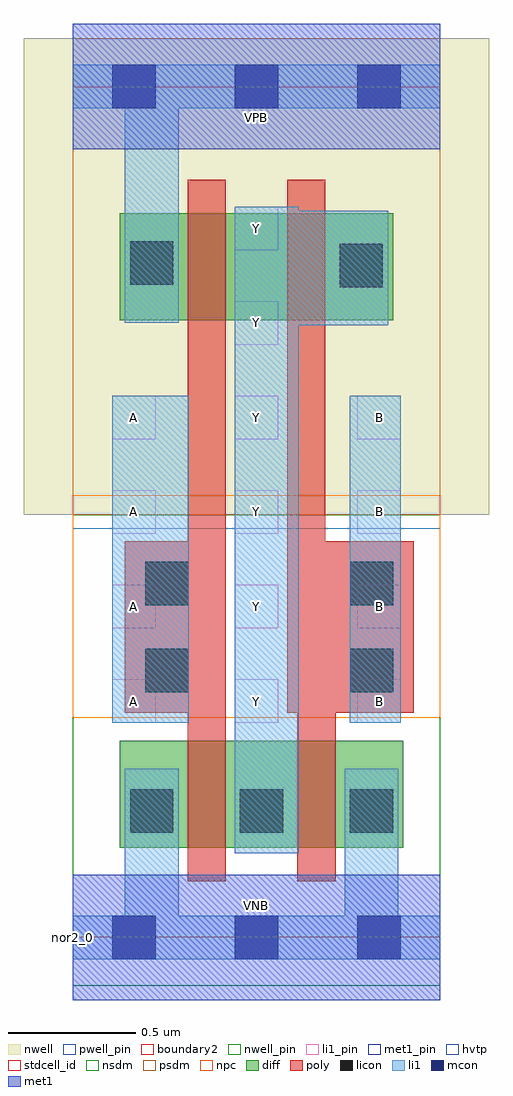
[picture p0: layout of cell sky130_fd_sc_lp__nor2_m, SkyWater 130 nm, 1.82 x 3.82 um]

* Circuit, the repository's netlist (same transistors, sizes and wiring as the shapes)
* Copyright 2020 The SkyWater PDK Authors
*
* Licensed under the Apache License, Version 2.0 (the "License");
* you may not use this file except in compliance with the License.
* You may obtain a copy of the License at
*
*     https://www.apache.org/licenses/LICENSE-2.0
*
* Unless required by applicable law or agreed to in writing, software
* distributed under the License is distributed on an "AS IS" BASIS,
* WITHOUT WARRANTIES OR CONDITIONS OF ANY KIND, either express or implied.
* See the License for the specific language governing permissions and
* limitations under the License.
*
* SPDX-License-Identifier: Apache-2.0

.SUBCKT sky130_fd_sc_lp__nor2_m A B VGND VNB VPB VPWR Y
*.PININFO A:I B:I VGND:I VNB:I VPB:I VPWR:I Y:O
MMP0 VPWR A sndPA VPB sky130_fd_pr__pfet_01v8_hvt m=1 w=0.42U l=0.15U mult=1 sa=0.265
+ sb=0.265 sd=0.28 area=0.063 perim=1.14
MMP1 sndPA B Y VPB sky130_fd_pr__pfet_01v8_hvt m=1 w=0.42U l=0.15U mult=1 sa=0.265
+ sb=0.265 sd=0.28 area=0.063 perim=1.14
MMN0 Y A VGND VNB sky130_fd_pr__nfet_01v8 m=1 w=0.42U l=0.15U mult=1 sa=0.265 sb=0.265
+ sd=0.28 area=0.063 perim=1.14
MMN1 Y B VGND VNB sky130_fd_pr__nfet_01v8 m=1 w=0.42U l=0.15U mult=1 sa=0.265 sb=0.265
+ sd=0.28 area=0.063 perim=1.14
.ENDS sky130_fd_sc_lp__nor2_m

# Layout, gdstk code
import gdstk
lib = gdstk.Library(unit=1e-6, precision=1e-09)
def R(c, l, rs):  # rectangles x0, y0, x1, y1
    for r in rs: c.add(gdstk.rectangle(r[:2], r[2:], *l))
def A(c, l, x, y, w, h, nx, ny, dx, dy):  # array of equal rectangles
    R(c, l, [(x+i*dx, y+j*dy, x+i*dx+w, y+j*dy+h) for i in range(nx) for j in range(ny)])
def P(c, l, *ps):  # polygons
    for p in ps: c.add(gdstk.Polygon(p, *l))
nwell_pin = (64, 16)
nwell = (64, 20)
diff = (65, 20)
poly = (66, 20)
licon = (66, 44)
li1_pin = (67, 16)
li1 = (67, 20)
mcon = (67, 44)
met1_pin = (68, 16)
met1 = (68, 20)
hvtp = (78, 44)
stdcell_id = (81, 4)
nsdm = (93, 44)
psdm = (94, 20)
npc = (95, 20)
pwell_pin = (122, 16)
boundary2 = (236, 0)

sky130_fd_sc_lp__nor2_m = lib.new_cell('sky130_fd_sc_lp__nor2_m')
R(sky130_fd_sc_lp__nor2_m, nwell_pin, [(0,3.085,1.44,3.33)])
R(sky130_fd_sc_lp__nor2_m, nwell, [(-0.19,1.655,1.63,3.52)])
R(sky130_fd_sc_lp__nor2_m, diff, [(0.185,0.35,1.295,0.77), (0.185,2.415,1.255,2.835)])
P(sky130_fd_sc_lp__nor2_m, poly, [(0.6,2.965),(0.45,2.965),(0.45,1.55),(0.205,1.55),(0.205,0.88),(0.45,0.88),(0.45,0.22),(0.6,0.22)],
  [(1.335,1.55),(0.99,1.55),(0.99,2.965),(0.84,2.965),(0.84,0.88),(0.88,0.88),(0.88,0.22),(1.03,0.22),(1.03,0.88),(1.335,0.88)])
A(sky130_fd_sc_lp__nor2_m, licon, 0.225, 0.41, 0.17, 0.17, 3, 1, 0.43, 0)
R(sky130_fd_sc_lp__nor2_m, licon, [(0.285,0.96,0.455,1.13), (1.085,0.96,1.255,1.13), (0.285,1.3,0.455,1.47), (1.085,1.3,1.255,1.47), (1.045,2.545,1.215,2.715), (0.225,2.555,0.395,2.725)])
A(sky130_fd_sc_lp__nor2_m, li1_pin, 0.155, 0.84, 0.17, 0.17, 3, 4, 0.48, 0.37)
R(sky130_fd_sc_lp__nor2_m, li1_pin, [(0.635,2.32,0.805,2.49), (0.635,2.69,0.805,2.86)])
R(sky130_fd_sc_lp__nor2_m, li1, [(0.155,0.84,0.455,2.12), (1.085,0.84,1.285,2.12)])
P(sky130_fd_sc_lp__nor2_m, li1, [(0.205,2.405),(0.205,3.245),(0,3.245),(0,3.415),(1.44,3.415),(1.44,3.245),(0.415,3.245),(0.415,2.405)],
  [(0.205,0.085),(0.205,0.66),(0.415,0.66),(0.415,0.085),(1.065,0.085),(1.065,0.66),(1.275,0.66),(1.275,0.085),(1.44,0.085),(1.44,-0.085),(0,-0.085),(0,0.085)],
  [(0.885,2.86),(0.885,2.845),(1.235,2.845),(1.235,2.395),(0.885,2.395),(0.885,0.33),(0.635,0.33),(0.635,2.86)])
A(sky130_fd_sc_lp__nor2_m, mcon, 0.155, -0.085, 0.17, 0.17, 3, 2, 0.48, 3.33)
R(sky130_fd_sc_lp__nor2_m, met1_pin, [(0,0,1.44,0.245), (0,3.085,1.44,3.33)])
R(sky130_fd_sc_lp__nor2_m, met1, [(0,-0.245,1.44,0.245), (0,3.085,1.44,3.575)])
R(sky130_fd_sc_lp__nor2_m, hvtp, [(0,1.6,1.44,3.33)])
R(sky130_fd_sc_lp__nor2_m, stdcell_id, [(0,0,1.44,3.33)])
R(sky130_fd_sc_lp__nor2_m, nsdm, [(0,-0.19,1.44,1.655)])
R(sky130_fd_sc_lp__nor2_m, psdm, [(0,1.655,1.44,3.52)])
R(sky130_fd_sc_lp__nor2_m, npc, [(0,0.86,1.44,1.73)])
R(sky130_fd_sc_lp__nor2_m, pwell_pin, [(0,0,1.44,0.245)])
R(sky130_fd_sc_lp__nor2_m, boundary2, [(0,0,1.44,3.33)])
sky130_fd_sc_lp__nor2_m.add(gdstk.Label('VNB', (0.72,0.123), layer=64, texttype=59))
sky130_fd_sc_lp__nor2_m.add(gdstk.Label('VPB', (0.72,3.208), layer=64, texttype=5))
sky130_fd_sc_lp__nor2_m.add(gdstk.Label('nor2_0', (0,0), layer=83, texttype=44))
sky130_fd_sc_lp__nor2_m.add(gdstk.Label('VPWR', (0.72,3.208), layer=68, texttype=5))
sky130_fd_sc_lp__nor2_m.add(gdstk.Label('VGND', (0.72,0.123), layer=68, texttype=5))
sky130_fd_sc_lp__nor2_m.add(gdstk.Label('A', (0.24,0.925), layer=67, texttype=5))
sky130_fd_sc_lp__nor2_m.add(gdstk.Label('A', (0.24,1.295), layer=67, texttype=5))
sky130_fd_sc_lp__nor2_m.add(gdstk.Label('A', (0.24,1.665), layer=67, texttype=5))
sky130_fd_sc_lp__nor2_m.add(gdstk.Label('A', (0.24,2.035), layer=67, texttype=5))
sky130_fd_sc_lp__nor2_m.add(gdstk.Label('Y', (0.72,0.925), layer=67, texttype=5))
sky130_fd_sc_lp__nor2_m.add(gdstk.Label('Y', (0.72,1.295), layer=67, texttype=5))
sky130_fd_sc_lp__nor2_m.add(gdstk.Label('Y', (0.72,1.665), layer=67, texttype=5))
sky130_fd_sc_lp__nor2_m.add(gdstk.Label('Y', (0.72,2.035), layer=67, texttype=5))
sky130_fd_sc_lp__nor2_m.add(gdstk.Label('Y', (0.72,2.405), layer=67, texttype=5))
sky130_fd_sc_lp__nor2_m.add(gdstk.Label('Y', (0.72,2.775), layer=67, texttype=5))
sky130_fd_sc_lp__nor2_m.add(gdstk.Label('B', (1.2,0.925), layer=67, texttype=5))
sky130_fd_sc_lp__nor2_m.add(gdstk.Label('B', (1.2,1.295), layer=67, texttype=5))
sky130_fd_sc_lp__nor2_m.add(gdstk.Label('B', (1.2,1.665), layer=67, texttype=5))
sky130_fd_sc_lp__nor2_m.add(gdstk.Label('B', (1.2,2.035), layer=67, texttype=5))

lib.write_gds('sky130_fd_sc_lp__nor2_m.gds')
